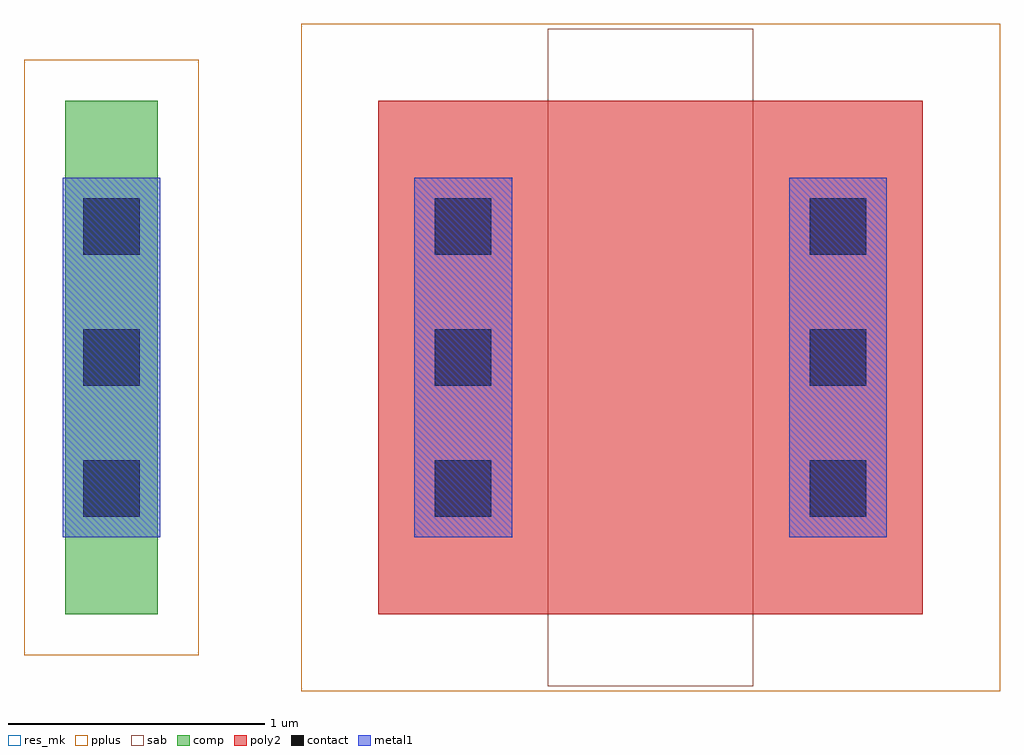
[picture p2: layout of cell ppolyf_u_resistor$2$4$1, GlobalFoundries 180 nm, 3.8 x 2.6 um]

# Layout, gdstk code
import gdstk
lib = gdstk.Library(unit=1e-6, precision=5e-09)
def R(c, l, rs):  # rectangles x0, y0, x1, y1
    for r in rs: c.add(gdstk.rectangle(r[:2], r[2:], *l))
def A(c, l, x, y, w, h, nx, ny, dx, dy):  # array of equal rectangles
    R(c, l, [(x+i*dx, y+j*dy, x+i*dx+w, y+j*dy+h) for i in range(nx) for j in range(ny)])
comp = (22, 0)
poly2 = (30, 0)
pplus = (31, 0)
contact = (33, 0)
metal1 = (34, 0)
sab = (49, 0)
res_mk = (110, 5)

ppolyf_u_resistor_2_4_1 = lib.new_cell('ppolyf_u_resistor$2$4$1')
R(ppolyf_u_resistor_2_4_1, comp, [(-1.88,0,-1.52,2)])
R(ppolyf_u_resistor_2_4_1, poly2, [(-0.66,0,1.46,2)])
R(ppolyf_u_resistor_2_4_1, pplus, [(-0.96,-0.3,1.76,2.3), (-2.04,-0.16,-1.36,2.16)])
A(ppolyf_u_resistor_2_4_1, contact, -1.81, 0.38, 0.22, 0.22, 1, 3, 0, 0.51)
A(ppolyf_u_resistor_2_4_1, contact, -0.44, 0.38, 0.22, 0.22, 1, 3, 0, 0.51)
A(ppolyf_u_resistor_2_4_1, contact, 1.02, 0.38, 0.22, 0.22, 1, 3, 0, 0.51)
R(ppolyf_u_resistor_2_4_1, metal1, [(-1.89,0.3,-1.51,1.7), (-0.52,0.3,-0.14,1.7), (0.94,0.3,1.32,1.7)])
R(ppolyf_u_resistor_2_4_1, sab, [(0,-0.28,0.8,2.28)])
R(ppolyf_u_resistor_2_4_1, res_mk, [(0,0,0.8,2)])

lib.write_gds('ppolyf_u_resistor_2_4_1.gds')
